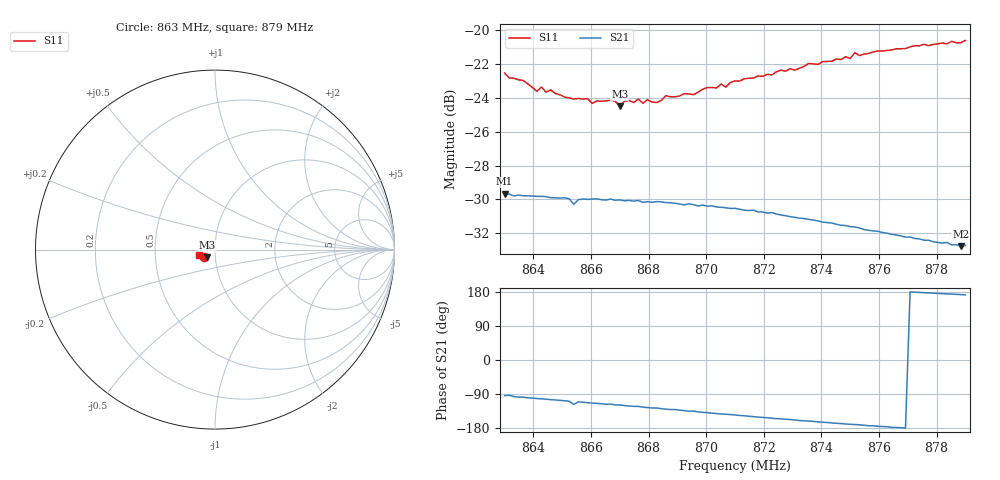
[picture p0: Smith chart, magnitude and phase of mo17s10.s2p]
# HZ S RI R 50
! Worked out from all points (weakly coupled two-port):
!   101 points, 863 MHz to 879 MHz, reference 50 ohm
!   highest |S21| = -29.66 dB at 863 MHz (marker M1); lowest = -32.8 dB at 878.84 MHz (marker M2)
!   lowest |S11| = -24.5 dB at 867 MHz (marker M3), VSWR 1.13, Z = 45.8 - j3.86 ohm
!   |S11| at or under -10 dB: start of sweep to end of sweep
!   S12 and S22 are empty: the file has one direction only
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8.63e8  -0.0611 -0.0431  -0.00222 -0.0328  0 0  0 0
8.6412e8  -0.0529 -0.0395  -0.00658 -0.0316  0 0  0 0
8.6428e8  -0.0533 -0.0422  -0.00701 -0.0315  0 0  0 0
8.6524e8  -0.049 -0.0398  -0.0102 -0.0301  0 0  0 0
8.654e8  -0.0481 -0.0401  -0.014 -0.0272  0 0  0 0
8.6572e8  -0.0474 -0.041  -0.0115 -0.0295  0 0  0 0
8.6604e8  -0.0453 -0.0406  -0.0127 -0.029  0 0  0 0
8.6668e8  -0.0447 -0.0432  -0.014 -0.0284  0 0  0 0
8.67e8  -0.0423 -0.042  -0.015 -0.0277  0 0  0 0
8.6764e8  -0.0438 -0.0447  -0.0168 -0.0265  0 0  0 0
8.678e8  -0.0429 -0.0432  -0.0175 -0.0256  0 0  0 0
8.6844e8  -0.0423 -0.0454  -0.0194 -0.0243  0 0  0 0
8.686e8  -0.0442 -0.0464  -0.0197 -0.0238  0 0  0 0
8.7052e8  -0.0472 -0.0508  -0.0238 -0.0183  0 0  0 0
8.7068e8  -0.0459 -0.0501  -0.0239 -0.0179  0 0  0 0
8.71e8  -0.0487 -0.0515  -0.0244 -0.0171  0 0  0 0
8.7372e8  -0.0595 -0.0528  -0.0261 -0.00852  0 0  0 0
8.75e8  -0.0671 -0.0481  -0.0259 -0.00469  0 0  0 0
8.7516e8  -0.07 -0.0497  -0.0258 -0.00444  0 0  0 0
8.7644e8  -0.0759 -0.0436  -0.0249 -0.00094  0 0  0 0
8.7884e8  -0.0872 -0.0289  -0.0228 0.00296  0 0  0 0
8.79e8  -0.0891 -0.0276  -0.0229 0.00333  0 0  0 0
